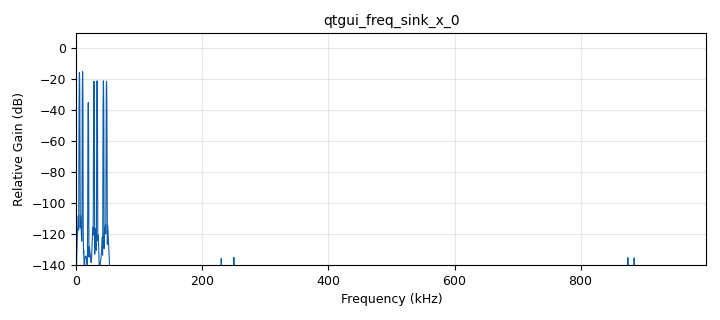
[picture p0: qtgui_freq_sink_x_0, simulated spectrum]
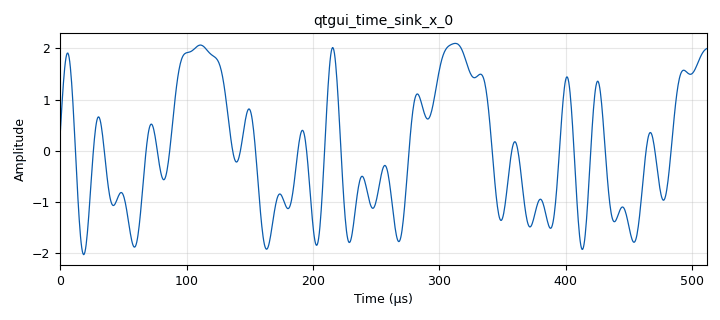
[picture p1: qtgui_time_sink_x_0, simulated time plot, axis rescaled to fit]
options:
  parameters:
    generate_options: qt_gui
    id: top_block
    output_language: python
  states: {}

blocks:
- name: frec_L
  id: variable_qtgui_range
  parameters:
    start: '0'
    step: '1'
    stop: 15e3
    value: 5e3
  states: {}
- name: frec_R
  id: variable_qtgui_range
  parameters:
    start: '0'
    step: '1'
    stop: 15e3
    value: 10e3
  states: {}
- name: samp_rate
  id: variable
  parameters:
    value: 2e6
  states: {}
- name: analog_sig_source_x_0
  id: analog_sig_source_x
  parameters:
    amp: '0.1'
    freq: 19e3
    offset: '0'
    phase: '0'
    samp_rate: samp_rate
    type: float
    waveform: analog.GR_SIN_WAVE
  states: {}
- name: analog_sig_source_x_1
  id: analog_sig_source_x
  parameters:
    amp: '1'
    freq: 38e3
    offset: '0'
    phase: '0'
    samp_rate: samp_rate
    type: float
    waveform: analog.GR_SIN_WAVE
  states: {}
- name: analog_sig_source_x_2
  id: analog_sig_source_x
  parameters:
    amp: '1'
    comment: L
    freq: frec_L
    offset: '0'
    phase: '0'
    samp_rate: samp_rate
    type: float
    waveform: analog.GR_COS_WAVE
  states: {}
- name: analog_sig_source_x_3
  id: analog_sig_source_x
  parameters:
    amp: '1'
    comment: R
    freq: frec_R
    offset: '0'
    phase: '0'
    samp_rate: samp_rate
    type: float
    waveform: analog.GR_COS_WAVE
  states: {}
- name: blocks_add_xx_0_0
  id: blocks_add_xx
  parameters:
    comment: Mono
    type: float
  states: {}
- name: blocks_add_xx_1
  id: blocks_add_xx
  parameters:
    comment: MPX
    num_inputs: '3'
    type: float
  states: {}
- name: blocks_multiply_xx_0_0
  id: blocks_multiply_xx
  parameters:
    type: float
  states: {}
- name: blocks_sub_xx_0
  id: blocks_sub_xx
  parameters:
    comment: Stereo
    type: float
  states: {}
- name: blocks_throttle_0
  id: blocks_throttle
  parameters:
    samples_per_second: samp_rate
    type: float
  states: {}
- name: qtgui_freq_sink_x_0
  id: qtgui_freq_sink_x
  parameters:
    bw: samp_rate
    fc: '0'
    fftsize: '8192'
    freqhalf: 'False'
    type: float
  states: {}
- name: qtgui_time_sink_x_0
  id: qtgui_time_sink_x
  parameters:
    size: '1024'
    srate: samp_rate
    type: float
  states: {}

connections:
- [analog_sig_source_x_0, '0', blocks_add_xx_1, '0']
- [analog_sig_source_x_1, '0', blocks_multiply_xx_0_0, '0']
- [analog_sig_source_x_2, '0', blocks_add_xx_0_0, '0']
- [analog_sig_source_x_2, '0', blocks_sub_xx_0, '0']
- [analog_sig_source_x_3, '0', blocks_add_xx_0_0, '1']
- [analog_sig_source_x_3, '0', blocks_sub_xx_0, '1']
- [blocks_add_xx_0_0, '0', blocks_add_xx_1, '2']
- [blocks_add_xx_1, '0', blocks_throttle_0, '0']
- [blocks_multiply_xx_0_0, '0', blocks_add_xx_1, '1']
- [blocks_sub_xx_0, '0', blocks_multiply_xx_0_0, '1']
- [blocks_throttle_0, '0', qtgui_freq_sink_x_0, '0']
- [blocks_throttle_0, '0', qtgui_time_sink_x_0, '0']

metadata:
  file_format: 1
  grc_version: 3.10.5.1
